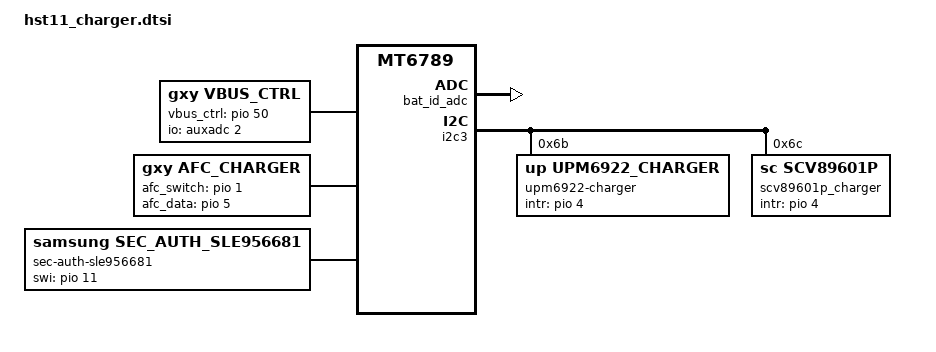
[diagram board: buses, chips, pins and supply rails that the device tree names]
/* HST11 code for AX7800A-28 by zhangziyi at 20250408 start */
#include <dt-bindings/iio/mt635x-auxadc.h>
#include "mediatek/bat_setting/mt6789_battery_prop_hst11.dtsi"

&thermal_zones {
    usb_therm: usb_therm {
        polling-delay = <0>; /* milliseconds */
        polling-delay-passive = <0>; /* milliseconds */
        thermal-sensors = <&tboard_thermistor3>;
    };
};

&odm {
    gxy_psy: gxy_psy {
        compatible = "gxy, gxy_psy";
        status = "okay";

        gxy_battery_ttf: gxy_battery_ttf {
            status = "okay";
            battery,ttf_dcp_charge_current = <1500>;
            battery,ttf_hv_charge_current = <2655>;
            battery,ttf_pd25_charge_current = <2655>;
            battery,ttf_pd45_charge_current = <2655>;
            battery,ttf_capacity = <4980>;
            /*fg_current soc cv_time*/
            /* HST11 code for AX7800A-938 by wenyaqi at 20250526 start */
            battery,cv_data = <
                2601  82  2562
                2535  85  2331
                2339  87  2171
                2108  89  1990
                1862  91  1780
                1620  93  1539
                1354  95  1243
                1092  97  877
                965  98  657
                812   99  366
                663   100  0
            >;
            /* HST11 code for AX7800A-938 by wenyaqi at 20250526 end */
        };
    };

    bat_id_adc: bat_id_adc {
        compatible = "gxy, bat_id_adc";
        io-channels = <&auxadc 4>;
        io-channel-names = "gxy-battid";
        /* HST11 code for AX7800A-616 by wenyaqi at 20250425 start */
        support_auth_ic;
        /* HST11 code for AX7800A-616 by wenyaqi at 20250425 end */
    };

    vbus_ctrl: vbus_ctrl {
        compatible = "gxy, vbus_ctrl";
        vbus_ctrl_gpio_num = <50>;
        vbus_ctrl_gpio = <&pio 50 0x0>;
        io-channels = <&auxadc 2>;
        io-channel-names = "gxy-usb-therm";
    };

    /* AFC  Fast charging */
    afc_charger: afc_charger {
        compatible = "gxy,afc_charger";
        gauge = <&mtk_gauge>;
        status = "okay";
        afc_switch_gpio_num = <1>;
        afc_switch_gpio = <&pio 1 0x0>;
        afc_data_gpio_num = <5>;
        afc_data_gpio = <&pio 5 0x0>;
        afc_start_battery_soc = <0>;
        afc_stop_battery_soc = <100>;
        afc_pre_input_current = <500000>;
        afc_charger_input_current = <1700000>;
        afc_charger_current = <2700000>;
        afc_min_charger_voltage = <4600000>;
        vbat_threshold = <4400>;
    };

    /* HST11 code for AX7800A-632 by wenyaqi at 20250507 start */
    sec-auth-sle956681 {
        status = "okay";
        compatible = "samsung,sec_auth_sle956681";
        authon,power_mode = "indirect";
        authon,1tau_value = <120>;
        authon,3tau_value = <360>;
        authon,5tau_value = <600>;
        authon,response_timeout_value = <4500>;
        authon,swi_gpio = <&pio 11 0x0>;
        authon,eur_detection = <0x02 0x00 0x00>;
    };
    /* HST11 code for AX7800A-632 by wenyaqi at 20250507 end */

    gxy_alarm: gxy_alarm {
        compatible = "gxy, gxy_alarm";
        status = "okay";
    };
};

&lk_charger {
    max_charger_voltage = <10400000>;
    ac_charger_current = <2000000>;
    ac_charger_input_current = <1550000>;

    /* HST11 code for AX7800A-502 by zhangziyi at 20250422 start */
    /* battery temperature protection */
    temp_t4_threshold = <57>;
    temp_t3_threshold = <42>;
    temp_t2_threshold = <23>;
    temp_t1_threshold = <13>;
    temp_t0_threshold = <0>;
    /* HST11 code for AX7800A-502 by zhangziyi at 20250422 end */
    /* HST11 code for AX7800A-787 by wenyaqi at 20250519 start */
    temp_t0_t1_charger_current = <420000>;
    temp_t1_t2_charger_current = <1320000>;
    enable_custom_jeita;
    /* HST11 code for AX7800A-787 by wenyaqi at 20250519 end */
};

&charger {
    io-channels = <&pmic_auxadc AUXADC_VCDT>;
    io-channel-names = "pmic_vbus";
    /* common */
    battery_cv = <4380000>;
    max_charger_voltage = <6400000>;
    max_fast_charger_voltage = <10400000>;
    min_charger_voltage = <4600000>;

    /* sw jeita */
    enable_sw_jeita;
    jeita_temp_above_t4_cv = <4100000>;
    jeita_temp_t3_to_t4_cv = <4100000>;
    jeita_temp_t2_to_t3_cv = <4380000>;
    jeita_temp_t1_to_t2_cv = <4380000>;
    jeita_temp_t0_to_t1_cv = <4380000>;
    jeita_temp_below_t0_cv = <4380000>;

    /* HST11 code for AX7800A-502 by zhangziyi at 20250422 start */
    jeita_temp_above_t4_cur = <0>;
    jeita_temp_t3_to_t4_cur = <1560000>;
    jeita_temp_t2_to_t3_cur = <2700000>;
    jeita_temp_t1_to_t2_cur = <1320000>;
    jeita_temp_t0_to_t1_cur = <420000>;
    jeita_temp_below_t0_cur = <0>;
    temp_t4_thres = <57>;
    temp_t4_thres_minus_x_degree = <56>;
    temp_t3_thres = <42>;
    temp_t3_thres_minus_x_degree = <41>;
    temp_t2_thres = <23>;
    temp_t2_thres_plus_x_degree = <24>;
    temp_t1_thres = <13>;
    temp_t1_thres_plus_x_degree = <14>;
    temp_t0_thres = <0>;
    temp_t0_thres_plus_x_degree = <2>;
    temp_neg_10_thres = <0>;

    /* HST11 code for AX7800A-494 by wenyaqi at 20250424 start */
    /* sw thermal */
    enable_custom_thermal_buck;
    thermal_lcd_on_buck_cur = <2300000 1500000>;
    thermal_lcd_off_buck_cur = <2300000 1500000>;
    /* HST11 code for AX7800A-494 by wenyaqi at 20250424 end */

    /* battery temperature protection */
    enable_min_charge_temp;
    min_charge_temp = <0>;
    min_charge_temp_plus_x_degree = <6>;
    max_charge_temp = <50>;
    max_charge_temp_minus_x_degree = <47>;
    /* HST11 code for AX7800A-502 by zhangziyi at 20250422 end */

    disable_aicl;
    /* charging current */
    usb_charger_current = <500000>;
    ac_charger_current = <2000000>;
    ac_charger_input_current = <1550000>;
    charging_host_charger_current = <1500000>;

    /* dynamic mivr */
    enable_dynamic_mivr;
    min_charger_voltage_1 = <4500000>;
    min_charger_voltage_2 = <4300000>;
    max_dmivr_charger_current = <1800000>;

    /* fast charging algo support indicator */
    enable_fast_charging_indicator;

    /* Battery Life */
    gxy-batt-aging-enable;
    gxy,cv-ranges = <0 199 4380000
                    200 249 4360000
                    250 299 4340000
                    300 1000 4320000
                    1001 9999 4270000>;

    /* HST11 code for AX7800A-632 by wenyaqi at 20250512 start */
    /* Auth Battery */
    support_auth_ic;
    auth_battery_cv = <4480000>;
    auth_jeita_temp_t2_to_t3_cv = <4480000>;
    auth_jeita_temp_t1_to_t2_cv = <4480000>;
    auth_jeita_temp_t0_to_t1_cv = <4480000>;
    auth_jeita_temp_below_t0_cv = <4480000>;
    auth_gxy,cv-ranges = <0 199 4480000
                    200 249 4460000
                    250 299 4440000
                    300 1000 4420000
                    1001 9999 4370000>;
    /* HST11 code for AX7800A-632 by wenyaqi at 20250512 end */
};

&pdc {
    pd_vbus_upper_bound = <10000000>;
    pd_stop_battery_soc = <100>;
    /* single charger */
    sc_input_current = <1700000>;
    sc_charger_current = <2700000>;
    /* dual charger */
    vbat_threshold = <4400>;
};

&i2c3 {
    upm6922-charger {
        compatible = "up,upm6922_charger";
        status = "okay";
        reg = <0x6b>;
        up,intr_gpio = <&pio 4 0>;

        up,upm6922,ichg = <500>;              /* unit:1mA */
        up,upm6922,iprechg = <420>;            /* unit:1mA */
        up,upm6922,iterm = <240>;              /* unit:1mA */
        up,upm6922,vreg = <4400>;              /* unit:1mV */
        up,upm6922,vindpm = <4600>;            /* unit:1mV */
        up,upm6922,boostv = <5000>;            /* unit:1mV */
        up,upm6922,boosti = <1200>;            /* unit:1mA */
        up,upm6922,vac-ovp = <11000>;          /* unit:1mV */
        //up,upm6922,continuous-adc-enable;
    };

    scv89601p_charger: scv89601p@6C {
        compatible = "sc,scv89601p";
        reg = <0x6C>;
        status = "okay";
        scv89601p,intr-gpio = <&pio 4 0>;
        scv89601p,charger_name = "primary_chg";
        scv89601p,pfm-dis = <0>; /*0: enable, 1: disable*/
        scv89601p,vsys-min = <5>; /*0: 2.6V, 1: 2.8V, 2: 3.0V, 
                    3: 3.2V, 4: 3.4V, 5: 3.5V, 6:3.6V, 7: 3.7V*/
        scv89601p,vbat-low-otg = <1>; /*0: 2.6V, 1: 2.8V*/
        scv89601p,ipre-chg = <2>; /*60 + val * 60, unit:mA*/
        scv89601p,itrickle = <0>; /*0: 50mA, 1: 100mA*/
        /* HST11 code for AX7800A-625 by zhangziyi at 20250429 start */
        scv89601p,itermination = <3>; /*60 + val * 60, unit:mA*/
        /* HST11 code for AX7800A-625 by zhangziyi at 20250429 end */
        scv89601p,vbat-volt = <67>; /*3530 + val * 10, unit:mV*/
        scv89601p,vrechg-volt = <0>; /*0:100mV, 1:200mV, 2:300mA 3:400mA*/
        scv89601p,en-termination = <1>; /*0: disable, 1: enable*/
        scv89601p,hvdcp-en = <0>; /*0: disable, 1: enable*/
        scv89601p,wdt-timer = <0>; /*0: disable, 1: 40s, 2: 80s, 3：160s*/
        scv89601p,en-safety-timer = <1>; /*0: disable, 1: enable*/
        scv89601p,charge-timer = <3>; /*0: 5hrs, 1: 8hrs, 2: 12hrs, 3: 24hrs*/
        scv89601p,vac-ovp = <3>; /*0: 6V, 1: 11V, 2: 12V, 3: 14V*/
        scv89601p,iboost = <2>; /*0:500mA, 1:0.9A, 2:1.3A, 3:1.5 4:2.1A, 5:2.5A, 6:2.9A, 7:3A*/
        scv89601p,vboost = <5100>; /*unit:mV*/
        scv89601p,vindpm-track = <0>; /*0: disable, 1:200mV, 2:250mV, 3:300mV*/
        scv89601p,vindpm-int-mask = <1>; /*0: not mask, 1: mask*/
        scv89601p,iindpm-int-mask = <1>; /*0: not mask, 1: mask*/
        scv89601p,auto-dpdm-en = <0>; /*0: disale, 1: enable*/
        scv89601p,iindpm-update-dis = <1>; /*0: enable 1:disable*/
    };
};
/* HST11 code for AX7800A-28 by zhangziyi at 20250408 end */
